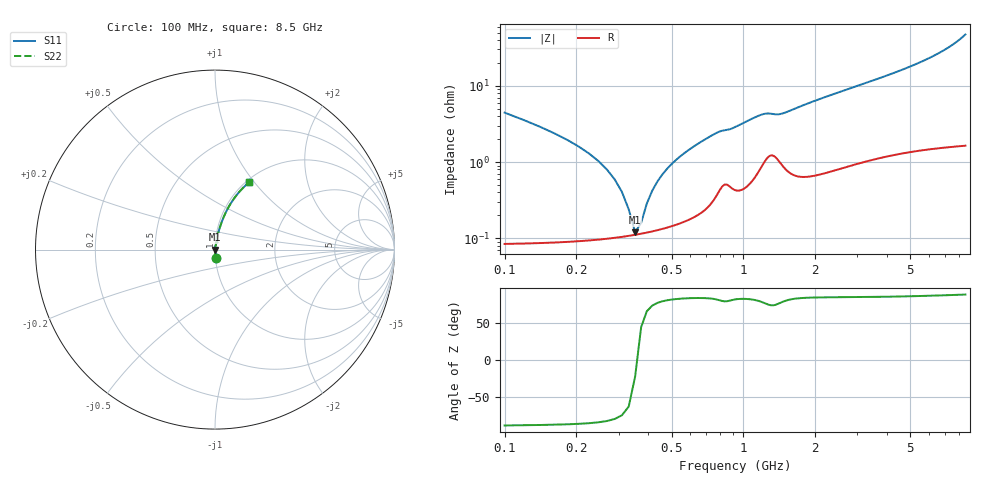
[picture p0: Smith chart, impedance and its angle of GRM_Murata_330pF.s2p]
!Murata Part Number: GRM1885C1H331JA01
!These Parameters are Measured in Series Mode Connection
!Data Generated on Mar 13, 2026
!  o--ll--o
!Port1  Port2
!  o------o
!Operation Temp=25[degC], DC Bias Voltage=0[V]
!Freq. Start=100[MHz] Stop=9[GHz] 401[Steps]
# Hz S RI R 50
!Freq.(Hz) S11(Real) S11(Imag) S21(Real) S21(Imag) S12(Real) S12(Imag) S22(Real) S22(Imag)
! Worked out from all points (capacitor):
!   401 points, 100 MHz to 8.5 GHz, reference 50 ohm
!   read as one part in series: C = 330 pF near 142 MHz
!   lowest |Z| = 120 mohm at 352 MHz (marker M1)
!   series resonance near 358.2 MHz, so ESL is about 600 pH
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1e8  0.00281 -0.0443  0.9972 0.0443  0.9972 0.0443  0.00281 -0.0443
1.42e8  0.00168 -0.0286  0.9983 0.0286  0.9983 0.0286  0.00168 -0.0286
2.47e8  0.00106 -0.0102  0.9989 0.0102  0.9989 0.0102  0.00106 -0.0102
2.89e8  0.00105 -0.00583  0.999 0.00583  0.999 0.00583  0.00105 -0.00583
3.1e8  0.00106 -0.00391  0.9989 0.00391  0.9989 0.00391  0.00106 -0.00391
3.31e8  0.00108 -0.00213  0.9989 0.00213  0.9989 0.00213  0.00108 -0.00213
3.52e8  0.00111 -0.000464  0.9989 0.000464  0.9989 0.000464  0.00111 -0.000464
3.73e8  0.00115 0.0011  0.9989 -0.0011  0.9989 -0.0011  0.00115 0.0011
3.94e8  0.00119 0.00259  0.9988 -0.00259  0.9988 -0.00259  0.00119 0.00259
4.36e8  0.0013 0.00537  0.9987 -0.00537  0.9987 -0.00537  0.0013 0.00537
4.99e8  0.00152 0.00919  0.9985 -0.00919  0.9985 -0.00919  0.00152 0.00919
5.83e8  0.00191 0.0139  0.9981 -0.0139  0.9981 -0.0139  0.00191 0.0139
7.09e8  0.00296 0.0206  0.997 -0.0206  0.997 -0.0206  0.00296 0.0206
7.93e8  0.00479 0.0245  0.9952 -0.0245  0.9952 -0.0245  0.00479 0.0245
1.171e9  0.00946 0.0396  0.9905 -0.0396  0.9905 -0.0396  0.00946 0.0396
1.507e9  0.00979 0.0435  0.9902 -0.0435  0.9902 -0.0435  0.00979 0.0435
2.095e9  0.0112 0.0659  0.9888 -0.0659  0.9888 -0.0659  0.0112 0.0659
2.914e9  0.0181 0.0937  0.9819 -0.0937  0.9819 -0.0937  0.0181 0.0937
4.3e9  0.0331 0.1419  0.9669 -0.1419  0.9669 -0.1419  0.0331 0.1419
5.707e9  0.0564 0.1996  0.9436 -0.1996  0.9436 -0.1996  0.0564 0.1996
7.114e9  0.099 0.2745  0.901 -0.2745  0.901 -0.2745  0.099 0.2745
8.5e9  0.1905 0.3757  0.8095 -0.3757  0.8095 -0.3757  0.1905 0.3757
